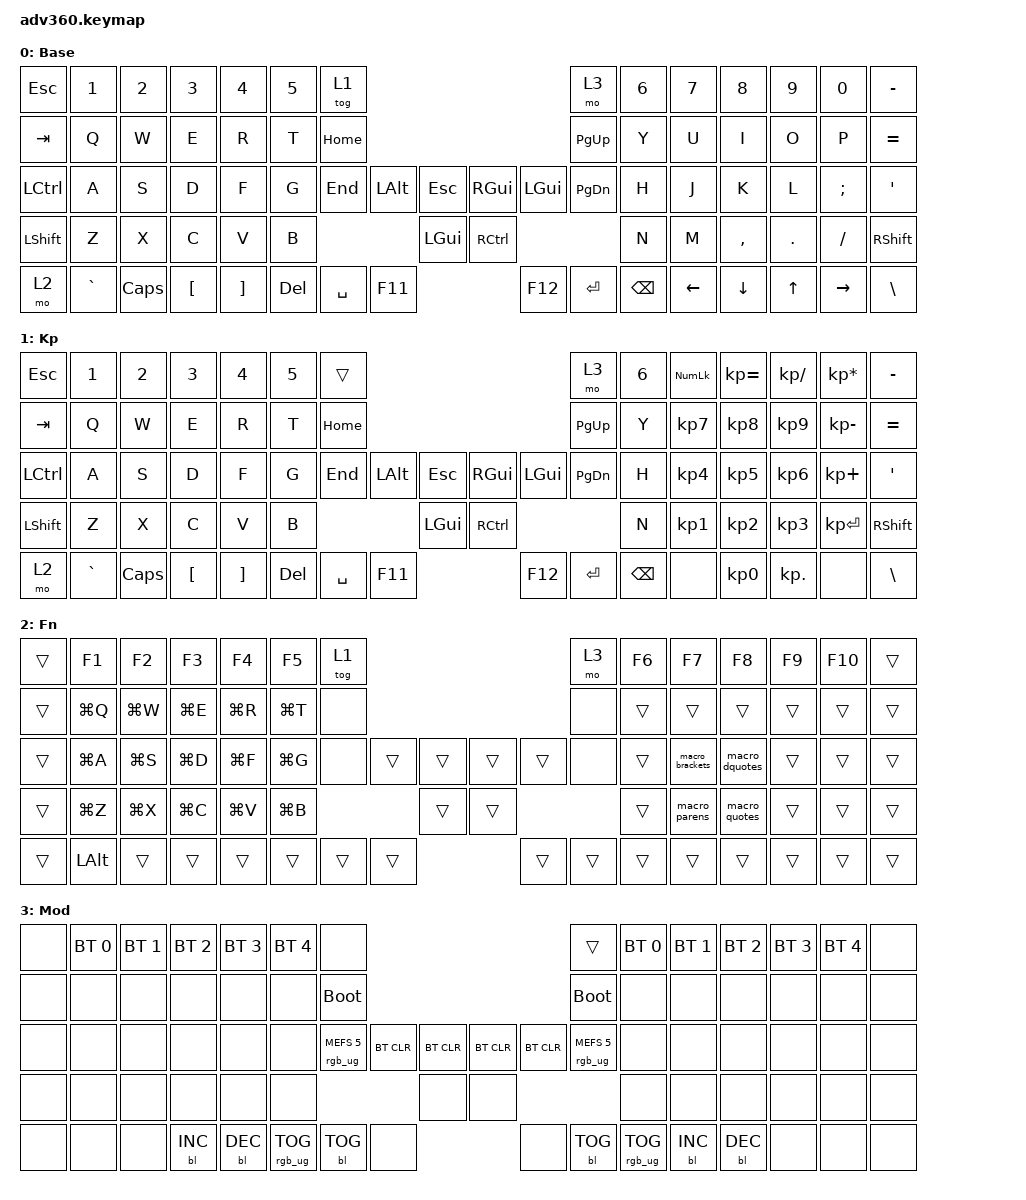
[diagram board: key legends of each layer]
#include <behaviors.dtsi>
#include <dt-bindings/zmk/keys.h>
#include <dt-bindings/zmk/bt.h>
#include <dt-bindings/zmk/rgb.h>
#include <dt-bindings/zmk/stp.h>
#include <dt-bindings/zmk/backlight.h>
#include <dt-bindings/zmk/pointing.h>

/ {
    behaviors {
      #include "macros.dtsi"
      #include "version.dtsi"

      hm: homerow_mods {
          compatible = "zmk,behavior-hold-tap";
          label = "HOMEROW_MODS";
          #binding-cells = <2>;
          tapping-term-ms = <200>;
          quick_tap_ms = <175>;
          flavor = "tap-preferred";
          bindings = <&kp>, <&kp>;
      };
    };

  keymap {
    compatible = "zmk,keymap";

    default_layer {
      display-name = "Base";
      bindings = <
        &kp ESC   &kp N1    &kp N2   &kp N3   &kp N4     &kp N5 &tog 1                                                           &mo 3     &kp N6 &kp N7   &kp N8    &kp N9   &kp N0    &kp MINUS
        &kp TAB   &kp Q     &kp W    &kp E    &kp R      &kp T  &kp HOME                                                         &kp PG_UP &kp Y  &kp U    &kp I     &kp O    &kp P     &kp EQUAL
        &kp LCTRL &kp A     &kp S    &kp D    &kp F      &kp G  &kp END         &kp LALT  &kp ESC  &kp RGUI  &kp LGUI            &kp PG_DN &kp H  &kp J    &kp K     &kp L    &kp SEMI  &kp SQT
        &kp LSHFT &kp Z     &kp X    &kp C    &kp V      &kp B                            &kp LGUI &kp RCTRL                               &kp N  &kp M    &kp COMMA &kp DOT  &kp FSLH  &kp RSHFT
        &mo 2     &kp GRAVE &kp CAPS &kp LBKT &kp RBKT                 &kp DEL  &kp SPACE &kp F11  &kp F12   &kp ENTER &kp BSPC                   &kp LEFT &kp DOWN  &kp UP   &kp RIGHT &kp BSLH
      >;
    };
    keypad {
      display-name = "Kp";
      bindings = <
        &kp ESC   &kp N1    &kp N2   &kp N3   &kp N4     &kp N5 &trans                                                           &mo 3     &kp N6 &kp KP_NUM &kp KP_EQUAL &kp KP_DIVIDE &kp KP_MULTIPLY &kp MINUS
        &kp TAB   &kp Q     &kp W    &kp E    &kp R      &kp T  &kp HOME                                                         &kp PG_UP &kp Y  &kp KP_N7  &kp KP_N8    &kp KP_N9     &kp KP_MINUS    &kp EQUAL
        &kp LCTRL &kp A     &kp S    &kp D    &kp F      &kp G  &kp END         &kp LALT  &kp ESC  &kp RGUI  &kp LGUI            &kp PG_DN &kp H  &kp KP_N4  &kp KP_N5    &kp KP_N6     &kp KP_PLUS     &kp SQT
        &kp LSHFT &kp Z     &kp X    &kp C    &kp V      &kp B                            &kp LGUI &kp RCTRL                               &kp N  &kp KP_N1  &kp KP_N2    &kp KP_N3     &kp KP_ENTER    &kp RSHFT
        &mo 2     &kp GRAVE &kp CAPS &kp LBKT &kp RBKT                 &kp DEL  &kp SPACE &kp F11  &kp F12   &kp ENTER &kp BSPC                   &none      &kp KP_N0    &kp KP_DOT    &none           &kp BSLH
      >;
    };
    fn {
      display-name = "Fn";
      bindings = <
        &trans &kp F1    &kp F2    &kp F3    &kp F4    &kp F5     &tog 1                                          &mo 3 &kp F6 &kp F7          &kp F8         &kp F9 &kp F10 &trans
        &trans &kp LG(Q) &kp LG(W) &kp LG(E) &kp LG(R) &kp LG(T)  &none                                           &none &trans &trans          &trans         &trans &trans  &trans
        &trans &kp LG(A) &kp LG(S) &kp LG(D) &kp LG(F) &kp LG(G)  &none        &trans &trans &trans &trans        &none &trans &macro_brackets &macro_dquotes &trans &trans  &trans
        &trans &kp LG(Z) &kp LG(X) &kp LG(C) &kp LG(V) &kp LG(B)                      &trans &trans                     &trans &macro_parens   &macro_quotes  &trans &trans  &trans
        &trans &kp LALT  &trans    &trans    &trans                     &trans &trans &trans &trans &trans &trans              &trans          &trans         &trans &trans  &trans
      >;
    };
    mod {
      display-name = "Mod";
      bindings = <
        &none &bt BT_SEL 0 &bt BT_SEL 1 &bt BT_SEL 2 &bt BT_SEL 3 &bt BT_SEL 4 &none                                                                                              &trans                 &bt BT_SEL 0 &bt BT_SEL 1 &bt BT_SEL 2 &bt BT_SEL 3 &bt BT_SEL 4 &none
        &none &none        &none        &none        &none        &none        &bootloader                                                                                        &bootloader            &none        &none        &none        &none        &none        &none
        &none &none        &none        &none        &none        &none        &rgb_ug RGB_MEFS_CMD 5                 &bt BT_CLR &bt BT_CLR &bt BT_CLR &bt BT_CLR                 &rgb_ug RGB_MEFS_CMD 5 &none        &none        &none        &none        &none        &none
        &none &none        &none        &none        &none        &none                                                          &none      &none                                                        &none        &none        &none        &none        &none        &none
        &none &none        &none        &bl BL_INC   &bl BL_DEC                                       &rgb_ug RGB_TOG &bl BL_TOG &none      &none      &bl BL_TOG &rgb_ug RGB_TOG                                     &bl BL_INC   &bl BL_DEC   &none        &none        &none
      >;
    };
    extra1 { 
      display-name = "Red";    
      status = "reserved";
    };

    extra2 { 
      display-name = "Purple";    
      status = "reserved";
    };

    extra3 { 
      display-name = "Cyan";    
      status = "reserved";
    };

    extra4 { 
      display-name = "Yellow";    
      status = "reserved";
    };
  };
};
